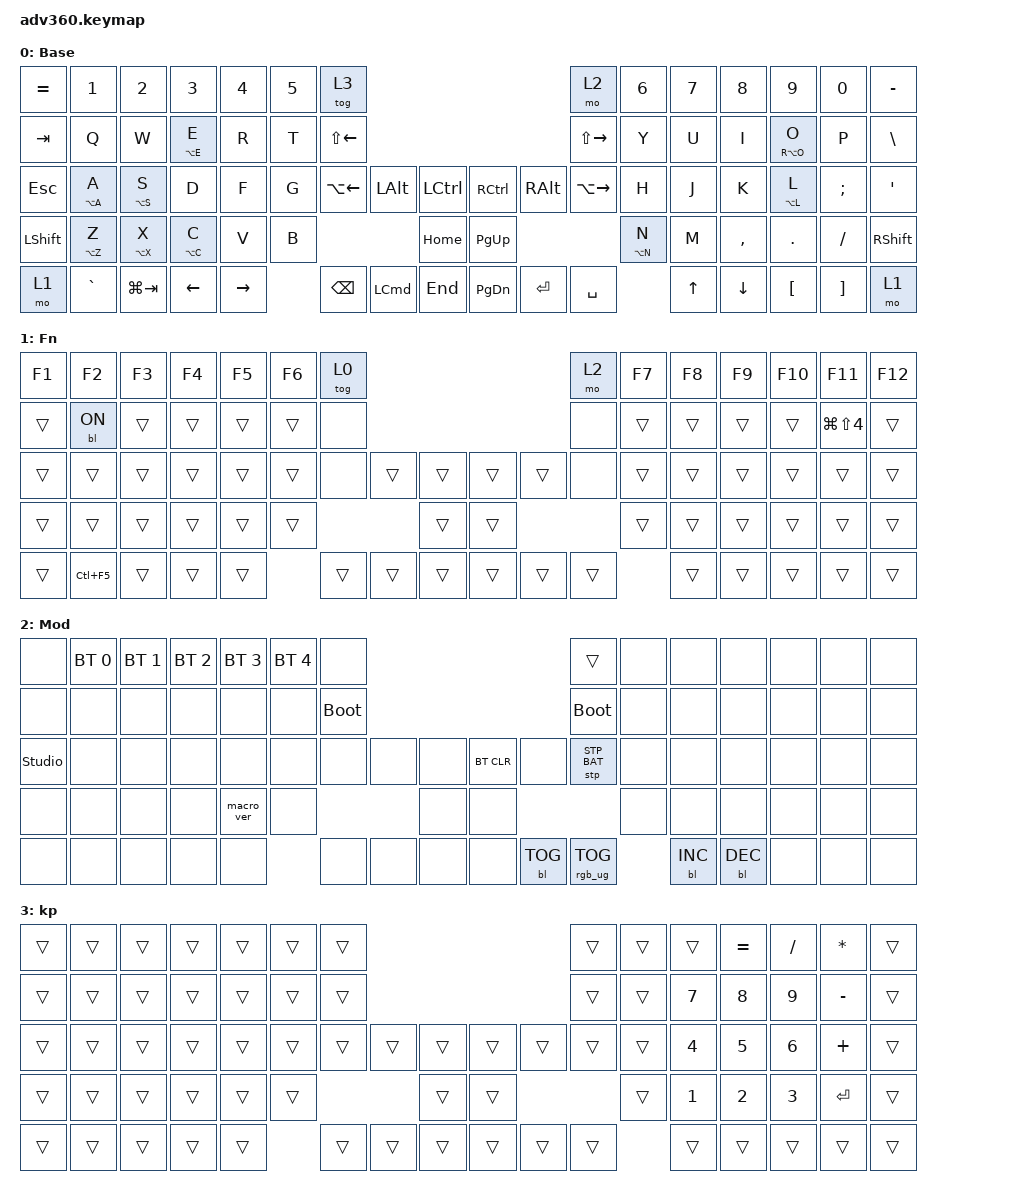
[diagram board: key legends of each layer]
#include <dt-bindings/zmk/stp.h>
#include <behaviors.dtsi>
#include <dt-bindings/zmk/backlight.h>
#include <dt-bindings/zmk/bt.h>
#include <dt-bindings/zmk/keys.h>
#include <dt-bindings/zmk/rgb.h>

/ {
    behaviors {
        #include "macros.dtsi"
      #include "version.dtsi"

        hm: homerow_mods {
            compatible = "zmk,behavior-hold-tap";
            label = "HOMEROW_MODS";
            #binding-cells = <2>;
            tapping-term-ms = <300>;
            quick_tap_ms = <175>;
            flavor = "tap-preferred";
            bindings = <&kp>, <&kp>;
        };
    };

    macros {
        quit_vim: new_macro {
            compatible = "zmk,behavior-macro";
            #binding-cells = <0>;
            bindings = <&none &kp COLON &kp Q &kp A &kp L &kp L>;
            label = "NEW_MACRO";
        };
    };

    keymap {
        compatible = "zmk,keymap";

        default_layer {
            display-name = "Base";
            bindings = <
&kp EQUAL  &kp N1       &kp N2       &kp N3       &kp N4     &kp N5  &tog 3                                                                                &mo 2                &kp N6       &kp N7  &kp N8     &kp N9       &kp N0    &kp MINUS
&kp TAB    &kp Q        &kp W        &hm LA(E) E  &kp R      &kp T   &kp LS(LEFT)                                                                          &kp LS(RIGHT_ARROW)  &kp Y        &kp U   &kp I      &hm RA(O) O  &kp P     &kp BSLH
&kp ESC    &hm LA(A) A  &hm LA(S) S  &kp D        &kp F      &kp G   &kp LA(LEFT_ARROW)  &kp LEFT_ALT      &kp LEFT_CONTROL      &kp RCTRL  &kp RIGHT_ALT  &kp LA(RIGHT_ARROW)  &kp H        &kp J   &kp K      &hm LA(L) L  &kp SEMI  &kp SQT
&kp LSHFT  &hm LA(Z) Z  &hm LA(X) X  &hm LA(C) C  &kp V      &kp B                                         &kp HOME              &kp PG_UP                                      &hm LA(N) N  &kp M   &kp COMMA  &kp DOT      &kp FSLH  &kp RSHFT
&mo 1      &kp GRAVE    &kp LG(TAB)  &kp LEFT     &kp RIGHT          &kp BSPC            &kp LEFT_COMMAND  &kp END               &kp PG_DN  &kp ENTER      &kp SPACE                         &kp UP  &kp DOWN   &kp LBKT     &kp RBKT  &mo 1
            >;
        };

        fn {
            display-name = "Fn";
            bindings = <
&kp F1  &kp F2      &kp F3  &kp F4  &kp F5  &kp F6  &tog 0                                      &mo 2   &kp F7  &kp F8  &kp F9  &kp F10  &kp F11               &kp F12
&trans  &bl BL_ON   &trans  &trans  &trans  &trans  &none                                       &none   &trans  &trans  &trans  &trans   &kp LG(LS(NUMBER_4))  &trans
&trans  &trans      &trans  &trans  &trans  &trans  &none   &trans  &trans      &trans  &trans  &none   &trans  &trans  &trans  &trans   &trans                &trans
&trans  &trans      &trans  &trans  &trans  &trans                  &trans      &trans                  &trans  &trans  &trans  &trans   &trans                &trans
&trans  &kp LC(F5)  &trans  &trans  &trans          &trans  &trans  &trans      &trans  &trans  &trans          &trans  &trans  &trans   &trans                &trans
            >;
        };

        mod {
            display-name = "Mod";
            bindings = <
&none           &bt BT_SEL 0  &bt BT_SEL 1  &bt BT_SEL 2  &bt BT_SEL 3  &bt BT_SEL 4  &none                                                  &trans           &none  &none       &none       &none  &none  &none
&none           &none         &none         &none         &none         &none         &bootloader                                            &bootloader      &none  &none       &none       &none  &none  &none
&studio_unlock  &none         &none         &none         &none         &none         &none        &none  &none      &bt BT_CLR  &none       &stp STP_BAT     &none  &none       &none       &none  &none  &none
&none           &none         &none         &none         &macro_ver    &none                             &none      &none                                    &none  &none       &none       &none  &none  &none
&none           &none         &none         &none         &none                       &none        &none  &none      &none       &bl BL_TOG  &rgb_ug RGB_TOG         &bl BL_INC  &bl BL_DEC  &none  &none  &none
            >;
        };

        kp {
            bindings = <
&trans  &trans  &trans  &trans  &trans  &trans  &trans                                      &trans  &trans  &trans  &kp EQUAL  &kp SLASH  &kp ASTERISK  &trans
&trans  &trans  &trans  &trans  &trans  &trans  &trans                                      &trans  &trans  &kp N7  &kp N8     &kp N9     &kp MINUS     &trans
&trans  &trans  &trans  &trans  &trans  &trans  &trans  &trans  &trans      &trans  &trans  &trans  &trans  &kp N4  &kp N5     &kp N6     &kp PLUS      &trans
&trans  &trans  &trans  &trans  &trans  &trans                  &trans      &trans                  &trans  &kp N1  &kp N2     &kp N3     &kp ENTER     &trans
&trans  &trans  &trans  &trans  &trans          &trans  &trans  &trans      &trans  &trans  &trans          &trans  &trans     &trans     &trans        &trans
            >;
        };
    };
};
